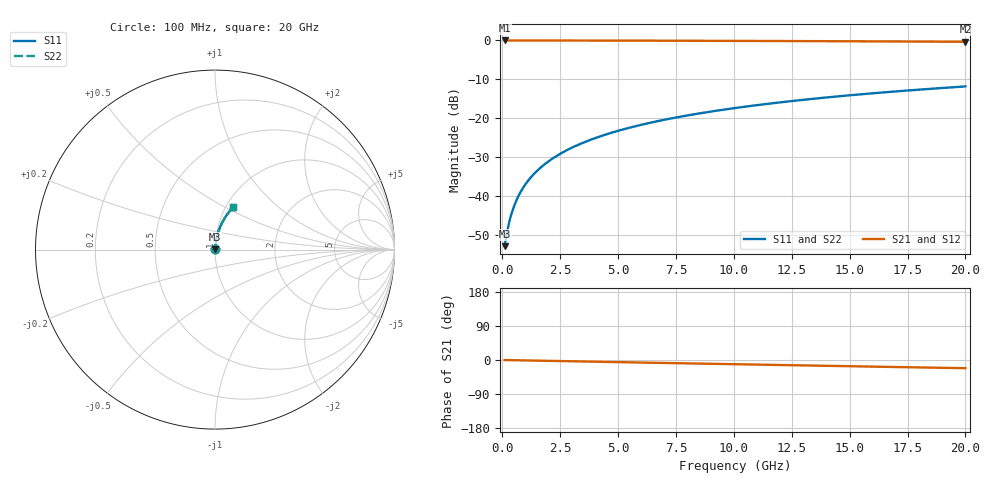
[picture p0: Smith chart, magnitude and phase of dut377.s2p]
! Touchstone file exported from HFSS 2026.1.0
!  File:  C:/ffzhzh/LocalFiles/Ansys_Project_Files/temp_train_BSMRDL_377_1783011908_53980.aedt
!  Generated:  01:06:30 AM Jul  3, 2026
!  Design:  BSMRDL
!  Project:  temp_train_BSMRDL_377_1783011908_53980
! Variables:
!  h_bsmrdl = 4.51um
!  h_ox = 20um
!  h_rdl = 5um
!  h_sub = 80um
!  h_tmrdl = 5um
!  h_tsv = 80um
!  h_via = 3um
!  l_bsmrdl = 254.44um
!  l_sub = 654.44um
!  l_tmrdl = 200um
!  m_sub = 200um
!  pitch = 44.38um
!  r_tsv = 6um
!  s_tmrdl = 10um
!  w_bsmrdl = 12.08um
!  w_sub = 500um
!  w_tmrdl = 12um
!  x_tsv_center1 = 206um
!  x_tsv_center2 = 472.52um
!  x_tsv_center3 = 684.52um
!  x_tsv_center4 = 951.04um
!  x_tsv_center5 = 1163.04um
!  x_tsv_center6 = 1429.56um
# GHz S MA R 50.000000
! Terminal data exported
! Port[1] = BSM_RDL1_1_T1
! Port[2] = BSM_RDL1_1_T2
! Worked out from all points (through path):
!   200 points, 100 MHz to 20 GHz, reference 50 ohm
!   highest |S21| = -0.02 dB at 100 MHz (marker M1); lowest = -0.4 dB at 20 GHz (marker M2)
!   group delay of S21, straight-line fit = 3 ps
!   lowest |S11| = -52.8 dB at 100 MHz (marker M3), VSWR 1.00, Z = 50.2 + j0.145 ohm
!   |S11| at or under -10 dB: start of sweep to end of sweep
!   |S22| runs from -52.8 to -11.8 dB; largest |S21 - S12| = 3.5e-15
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0.1  0.002281 39.5  0.9982 -0.1  0.9982 -0.1  0.002281 39.5
! Gamma 0 0 0 0
! Port Impedance 50 0 50 0
0.2  0.003399 58.0  0.9982 -0.2  0.9982 -0.2  0.003399 58.0
0.3  0.004678 66.6  0.9982 -0.3  0.9982 -0.3  0.004678 66.6
0.4  0.006006 71.4  0.9981 -0.5  0.9981 -0.5  0.006006 71.4
0.5  0.007354 74.5  0.9981 -0.6  0.9981 -0.6  0.007354 74.5
0.6  0.008713 76.6  0.998 -0.7  0.998 -0.7  0.008713 76.6
0.8  0.01145 79.2  0.998 -0.9  0.998 -0.9  0.01145 79.2
1.1  0.01559 81.3  0.9978 -1.3  0.9978 -1.3  0.01559 81.3
1.5  0.02113 82.6  0.9977 -1.7  0.9977 -1.7  0.02113 82.6
1.8  0.02528 83.0  0.9975 -2.0  0.9975 -2.0  0.02528 83.0
2.1  0.02944 83.2  0.9973 -2.4  0.9973 -2.4  0.02944 83.2
2.7  0.03772 83.3  0.9969 -3.1  0.9969 -3.1  0.03772 83.3
3.5  0.0487 82.9  0.9961 -4.0  0.9961 -4.0  0.0487 82.9
4.2  0.05823 82.4  0.9954 -4.7  0.9954 -4.7  0.05823 82.4
5  0.06905 81.7  0.9944 -5.6  0.9944 -5.6  0.06905 81.7
5.9  0.08112 80.8  0.9931 -6.6  0.9931 -6.6  0.08112 80.8
6.8  0.09308 80.0  0.9918 -7.6  0.9918 -7.6  0.09308 80.0
8.3  0.1128 78.5  0.9892 -9.3  0.9892 -9.3  0.1128 78.5
10.1  0.136 76.7  0.9858 -11.2  0.9858 -11.2  0.136 76.7
13.4  0.1777 73.4  0.9783 -14.8  0.9783 -14.8  0.1777 73.4
16.7  0.2178 70.1  0.9696 -18.2  0.9696 -18.2  0.2178 70.1
20  0.2564 66.8  0.9597 -21.6  0.9597 -21.6  0.2564 66.8
